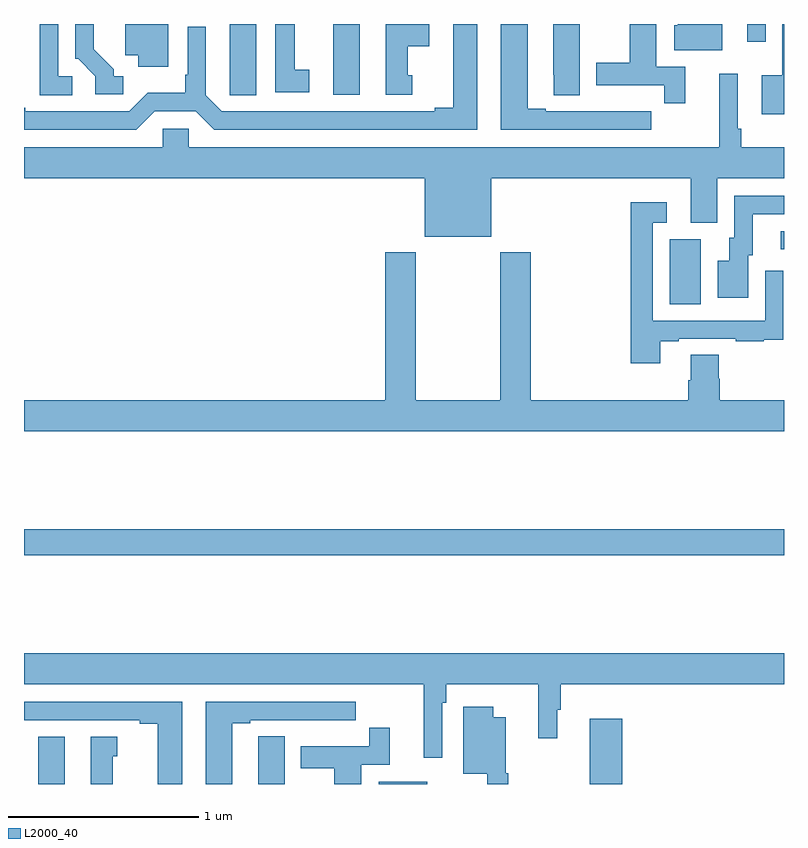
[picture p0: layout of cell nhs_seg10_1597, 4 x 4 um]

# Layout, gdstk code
import gdstk
lib = gdstk.Library(unit=1e-6, precision=1e-09)
def R(c, l, rs):  # rectangles x0, y0, x1, y1
    for r in rs: c.add(gdstk.rectangle(r[:2], r[2:], *l))
def P(c, l, *ps):  # polygons
    for p in ps: c.add(gdstk.Polygon(p, *l))
L2000_40 = (2000, 40)

nhs_seg10_1597 = lib.new_cell('nhs_seg10_1597')
R(nhs_seg10_1597, L2000_40, [(195.074,1258.5,195.214,1258.75), (196.868,1258.5,197.122,1258.513), (197.978,1258.5,198.149,1258.843), (195,1259.704,199,1259.84), (198.398,1261.024,198.562,1261.368), (198.984,1261.314,199,1261.41), (196.628,1262.127,196.768,1262.5), (198.806,1262.406,198.903,1262.5)])
P(nhs_seg10_1597, L2000_40, [(195.76,1262.5),(195.533,1262.5),(195.533,1262.336),(195.602,1262.336),(195.602,1262.274),(195.76,1262.274)],
  [(196.501,1262.258),(196.426,1262.258),(196.426,1262.5),(196.322,1262.5),(196.322,1262.142),(196.501,1262.142)],
  [(195.523,1262.226),(195.472,1262.226),(195.472,1262.261),(195.367,1262.366),(195.367,1262.5),(195.27,1262.5),(195.27,1262.316),(195.285,1262.316),(195.375,1262.226),(195.375,1262.13),(195.523,1262.13)],
  [(198.301,1262.04),(198.188,1262.04),(198.188,1262.041),(198.022,1262.041),(198.022,1262.04),(197.746,1262.04),(197.746,1262.055),(197.65,1262.055),(197.65,1262.5),(197.51,1262.5),(197.51,1261.944),(198.301,1261.944)],
  [(195.253,1262.226),(195.18,1262.226),(195.18,1262.5),(195.083,1262.5),(195.083,1262.125),(195.253,1262.125)],
  [(198.676,1262.5),(198.44,1262.5),(198.44,1262.493),(198.422,1262.493),(198.422,1262.363),(198.676,1262.363)],
  [(195.687,1262.04),(195.905,1262.04),(196.001,1261.944),(197.386,1261.944),(197.386,1262.5),(197.258,1262.5),(197.258,1262.06),(197.162,1262.06),(197.162,1262.04),(196.041,1262.04),(195.957,1262.124),(195.957,1262.485),(195.861,1262.485),(195.861,1262.233),(195.849,1262.233),(195.849,1262.137),(195.652,1262.137),(195.555,1262.04),(195.007,1262.04),(195.007,1262.06),(195,1262.06),(195,1261.944),(195.591,1261.944)],
  [(196.222,1262.5),(196.082,1262.5),(196.082,1262.233),(196.083,1262.233),(196.083,1262.125),(196.222,1262.125)],
  [(197.926,1262.5),(197.786,1262.5),(197.786,1262.233),(197.787,1262.233),(197.787,1262.125),(197.926,1262.125)],
  [(198.479,1262.274),(198.328,1262.274),(198.328,1262.5),(198.188,1262.5),(198.188,1262.295),(198.011,1262.295),(198.011,1262.178),(198.37,1262.178),(198.37,1262.082),(198.479,1262.082)],
  [(197.044,1262.229),(197.02,1262.229),(197.02,1262.384),(197.134,1262.384),(197.134,1262.5),(196.904,1262.5),(196.904,1262.127),(197.044,1262.127)],
  [(199,1262.5),(198.991,1262.5),(198.991,1262.23),(198.884,1262.23),(198.884,1262.024),(199,1262.024)],
  [(197.458,1261.688),(198.509,1261.688),(198.509,1261.453),(198.649,1261.453),(198.649,1261.688),(199,1261.688),(199,1261.852),(198.776,1261.852),(198.776,1261.948),(198.756,1261.948),(198.756,1262.239),(198.659,1262.239),(198.659,1261.852),(195.867,1261.852),(195.867,1261.95),(195.729,1261.95),(195.729,1261.852),(195,1261.852),(195,1261.688),(197.108,1261.688),(197.108,1261.379),(197.458,1261.379)],
  [(198.811,1261.284),(198.835,1261.284),(198.835,1261.5),(199,1261.5),(199,1261.596),(198.738,1261.596),(198.738,1261.374),(198.713,1261.374),(198.713,1261.255),(198.65,1261.255),(198.65,1261.059),(198.811,1261.059)],
  [(198.349,1260.831),(198.445,1260.831),(198.445,1260.843),(198.745,1260.843),(198.745,1260.831),(198.893,1260.831),(198.893,1260.837),(198.995,1260.837),(198.995,1260.946),(198.996,1260.946),(198.996,1261.201),(198.9,1261.201),(198.9,1260.939),(198.309,1260.939),(198.309,1261.455),(198.382,1261.455),(198.382,1261.561),(198.193,1261.561),(198.193,1260.714),(198.349,1260.714)],
  [(199,1260.52),(198.662,1260.52),(198.662,1260.633),(198.657,1260.633),(198.657,1260.758),(198.509,1260.758),(198.509,1260.626),(198.497,1260.626),(198.497,1260.52),(197.666,1260.52),(197.666,1261.3),(197.506,1261.3),(197.506,1260.52),(197.061,1260.52),(197.061,1261.3),(196.901,1261.3),(196.901,1260.52),(195,1260.52),(195,1260.356),(199,1260.356)],
  [(197.202,1258.928),(197.222,1258.928),(197.222,1259.024),(197.707,1259.024),(197.707,1258.74),(197.806,1258.74),(197.806,1258.89),(197.825,1258.89),(197.825,1259.024),(199,1259.024),(199,1259.188),(195,1259.188),(195,1259.024),(197.105,1259.024),(197.105,1258.638),(197.202,1258.638)],
  [(196.096,1258.821),(196.192,1258.821),(196.192,1258.836),(196.468,1258.836),(196.468,1258.835),(196.634,1258.835),(196.634,1258.836),(196.747,1258.836),(196.747,1258.932),(195.956,1258.932),(195.956,1258.5),(196.096,1258.5)],
  [(195.832,1258.932),(195,1258.932),(195,1258.836),(195.608,1258.836),(195.608,1258.816),(195.704,1258.816),(195.704,1258.5),(195.832,1258.5)],
  [(197.548,1258.557),(197.536,1258.557),(197.536,1258.852),(197.47,1258.852),(197.47,1258.906),(197.312,1258.906),(197.312,1258.553),(197.439,1258.553),(197.439,1258.5),(197.548,1258.5)],
  [(196.774,1258.602),(196.925,1258.602),(196.925,1258.795),(196.816,1258.795),(196.816,1258.698),(196.457,1258.698),(196.457,1258.582),(196.634,1258.582),(196.634,1258.5),(196.774,1258.5)],
  [(196.372,1258.751),(196.233,1258.751),(196.233,1258.643),(196.232,1258.643),(196.232,1258.5),(196.372,1258.5)],
  [(195.466,1258.647),(195.49,1258.647),(195.49,1258.75),(195.35,1258.75),(195.35,1258.5),(195.466,1258.5)])

lib.write_gds('nhs_seg10_1597.gds')
